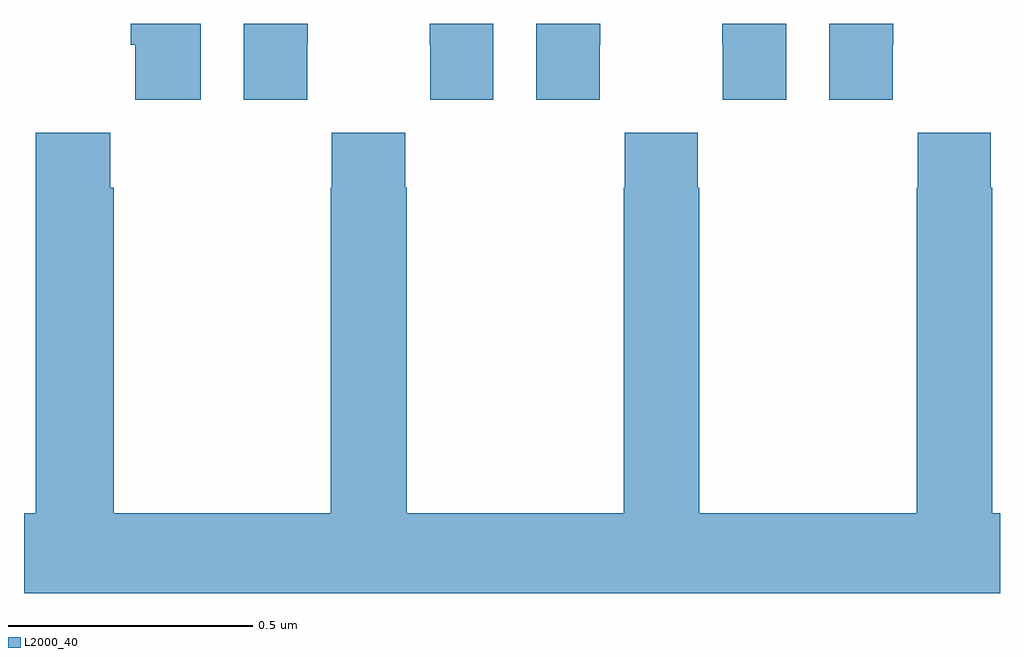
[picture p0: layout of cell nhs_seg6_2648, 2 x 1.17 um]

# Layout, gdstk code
import gdstk
lib = gdstk.Library(unit=1e-6, precision=1e-09)
def P(c, l, *ps):  # polygons
    for p in ps: c.add(gdstk.Polygon(p, *l))
L2000_40 = (2000, 40)

nhs_seg6_2648 = lib.new_cell('nhs_seg6_2648')
P(nhs_seg6_2648, L2000_40, [(146.362,952.5),(146.219,952.5),(146.219,952.456),(146.228,952.456),(146.228,952.344),(146.362,952.344)],
  [(146.58,952.456),(146.581,952.456),(146.581,952.5),(146.45,952.5),(146.45,952.344),(146.58,952.344)],
  [(146.962,952.5),(146.831,952.5),(146.831,952.456),(146.832,952.456),(146.832,952.344),(146.962,952.344)],
  [(147.18,952.456),(147.181,952.456),(147.181,952.5),(147.05,952.5),(147.05,952.344),(147.18,952.344)],
  [(147.562,952.5),(147.431,952.5),(147.431,952.456),(147.432,952.456),(147.432,952.344),(147.562,952.344)],
  [(147.78,952.456),(147.781,952.456),(147.781,952.5),(147.65,952.5),(147.65,952.344),(147.78,952.344)],
  [(148,951.496),(147.984,951.496),(147.984,952.163),(147.981,952.163),(147.981,952.276),(147.831,952.276),(147.831,952.163),(147.829,952.163),(147.829,951.496),(147.384,951.496),(147.384,952.163),(147.381,952.163),(147.381,952.276),(147.231,952.276),(147.231,952.163),(147.229,952.163),(147.229,951.496),(146.784,951.496),(146.784,952.163),(146.781,952.163),(146.781,952.276),(146.631,952.276),(146.631,952.163),(146.629,952.163),(146.629,951.496),(146.184,951.496),(146.184,952.163),(146.177,952.163),(146.177,952.276),(146.024,952.276),(146.024,951.496),(146,951.496),(146,951.332),(148,951.332)])

lib.write_gds('nhs_seg6_2648.gds')
